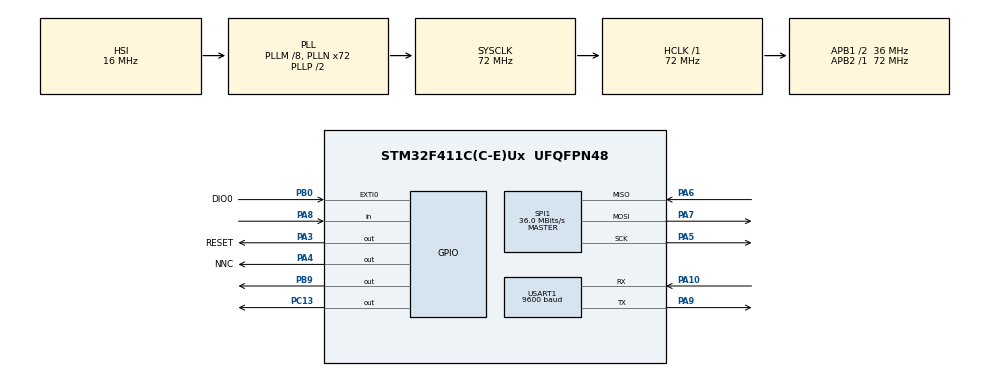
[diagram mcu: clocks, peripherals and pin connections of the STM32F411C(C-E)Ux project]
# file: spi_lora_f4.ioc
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Mcu.Family=STM32F4
Mcu.Name=STM32F411C(C-E)Ux
Mcu.Package=UFQFPN48
NVIC.EXTI0_IRQn=true\:0\:0\:false\:false\:true\:true\:true\:true
NVIC.PriorityGroup=NVIC_PRIORITYGROUP_4
PA10.Mode=Asynchronous
PA10.Signal=USART1_RX
PA13.Mode=Serial_Wire
PA13.Signal=SYS_JTMS-SWDIO
PA14.Mode=Serial_Wire
PA14.Signal=SYS_JTCK-SWCLK
PA3.GPIO_Label=RESET
PA3.PinState=GPIO_PIN_SET
PA3.Signal=GPIO_Output
PA4.GPIO_Label=NNC
PA4.PinState=GPIO_PIN_SET
PA4.Signal=GPIO_Output
PA5.Mode=Full_Duplex_Master
PA5.Signal=SPI1_SCK
PA6.Mode=Full_Duplex_Master
PA6.Signal=SPI1_MISO
PA7.Mode=Full_Duplex_Master
PA7.Signal=SPI1_MOSI
PA8.Signal=GPIO_Input
PA9.Mode=Asynchronous
PA9.Signal=USART1_TX
PB0.GPIO_Label=DIO0
PB0.GPIO_ModeDefaultEXTI=GPIO_MODE_IT_RISING
PB0.Signal=GPXTI0
PB9.PinState=GPIO_PIN_RESET
PB9.Signal=GPIO_Output
PC13-ANTI_TAMP.Signal=GPIO_Output
PH0\ -\ OSC_IN.Mode=HSE-External-Oscillator
PH0\ -\ OSC_IN.Signal=RCC_OSC_IN
PH1\ -\ OSC_OUT.Mode=HSE-External-Oscillator
PH1\ -\ OSC_OUT.Signal=RCC_OSC_OUT
ProjectManager.HeapSize=0x200
ProjectManager.StackSize=0x400
ProjectManager.TargetToolchain=STM32CubeIDE
RCC.48MHZClocksFreq_Value=36000000
RCC.AHBFreq_Value=72000000
RCC.APB1CLKDivider=RCC_HCLK_DIV2
RCC.APB1Freq_Value=36000000
RCC.APB1TimFreq_Value=72000000
RCC.APB2Freq_Value=72000000
RCC.APB2TimFreq_Value=72000000
RCC.CortexFreq_Value=72000000
RCC.HCLKFreq_Value=72000000
RCC.HSE_VALUE=25000000
RCC.HSI_VALUE=16000000
RCC.LSE_VALUE=32768
RCC.PLLM=8
RCC.PLLN=72
RCC.SYSCLKFreq_VALUE=72000000
RCC.SYSCLKSource=RCC_SYSCLKSOURCE_PLLCLK
RCC.VCOOutputFreq_Value=144000000
SPI1.CalculateBaudRate=36.0 MBits/s
SPI1.Direction=SPI_DIRECTION_2LINES
SPI1.Mode=SPI_MODE_MASTER
SPI1.VirtualType=VM_MASTER
USART1.BaudRate=9600
USART1.VirtualMode=VM_ASYNC
board=custom

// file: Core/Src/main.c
/* USER CODE BEGIN Header */
/**
  ******************************************************************************
  * @file           : main.c
  * @brief          : Main program body
  ******************************************************************************
  * @attention
  *
  * Copyright (c) 2023 STMicroelectronics.
  * All rights reserved.
  *
  * This software is licensed under terms that can be found in the LICENSE file
  * in the root directory of this software component.
  * If no LICENSE file comes with this software, it is provided AS-IS.
  *
  ******************************************************************************
  */
/* USER CODE END Header */
#include "main.h"

/* USER CODE BEGIN Includes */
#include "LoRa_f.h"

/* USER CODE END Includes */

SPI_HandleTypeDef hspi1;

UART_HandleTypeDef huart1;

/* USER CODE BEGIN PV */
LoRa myLoRa;
uint8_t receive_data[10];
uint8_t so_luong_message_nhan_duoc[1] = {0};

/* USER CODE END PV */

void SystemClock_Config(void);
static void MX_GPIO_Init(void);
static void MX_SPI1_Init(void);
static void MX_USART1_UART_Init(void);

int main(void)
{

  /* MCU Configuration--------------------------------------------------------*/

  /* Reset of all peripherals, Initializes the Flash interface and the Systick. */
  HAL_Init();

  /* Configure the system clock */
  SystemClock_Config();

  /* Initialize all configured peripherals */
  MX_GPIO_Init();
  MX_SPI1_Init();
  MX_USART1_UART_Init();
  /* USER CODE BEGIN 2 */

  myLoRa = newLoRa(&hspi1);
  LoRa_start(&myLoRa, &huart1);

  /* USER CODE END 2 */

  /* Infinite loop */
  /* USER CODE BEGIN WHILE */
  while (1)
  {
	  transmit_test(&myLoRa);
	  HAL_Delay(200);
    /* USER CODE END WHILE */

  }
}

void SystemClock_Config(void)
{
  RCC_OscInitTypeDef RCC_OscInitStruct = {0};
  RCC_ClkInitTypeDef RCC_ClkInitStruct = {0};

  /** Configure the main internal regulator output voltage
  */
  __HAL_RCC_PWR_CLK_ENABLE();
  __HAL_PWR_VOLTAGESCALING_CONFIG(PWR_REGULATOR_VOLTAGE_SCALE1);

  /** Initializes the RCC Oscillators according to the specified parameters
  * in the RCC_OscInitTypeDef structure.
  */
  RCC_OscInitStruct.OscillatorType = RCC_OSCILLATORTYPE_HSI;
  RCC_OscInitStruct.HSIState = RCC_HSI_ON;
  RCC_OscInitStruct.HSICalibrationValue = RCC_HSICALIBRATION_DEFAULT;
  RCC_OscInitStruct.PLL.PLLState = RCC_PLL_ON;
  RCC_OscInitStruct.PLL.PLLSource = RCC_PLLSOURCE_HSI;
  RCC_OscInitStruct.PLL.PLLM = 8;
  RCC_OscInitStruct.PLL.PLLN = 72;
  RCC_OscInitStruct.PLL.PLLP = RCC_PLLP_DIV2;
  RCC_OscInitStruct.PLL.PLLQ = 4;
  if (HAL_RCC_OscConfig(&RCC_OscInitStruct) != HAL_OK)
  {
    Error_Handler();
  }

  /** Initializes the CPU, AHB and APB buses clocks
  */
  RCC_ClkInitStruct.ClockType = RCC_CLOCKTYPE_HCLK|RCC_CLOCKTYPE_SYSCLK
                              |RCC_CLOCKTYPE_PCLK1|RCC_CLOCKTYPE_PCLK2;
  RCC_ClkInitStruct.SYSCLKSource = RCC_SYSCLKSOURCE_PLLCLK;
  RCC_ClkInitStruct.AHBCLKDivider = RCC_SYSCLK_DIV1;
  RCC_ClkInitStruct.APB1CLKDivider = RCC_HCLK_DIV2;
  RCC_ClkInitStruct.APB2CLKDivider = RCC_HCLK_DIV1;

  if (HAL_RCC_ClockConfig(&RCC_ClkInitStruct, FLASH_LATENCY_2) != HAL_OK)
  {
    Error_Handler();
  }
}

static void MX_SPI1_Init(void)
{

  /* SPI1 parameter configuration*/
  hspi1.Instance = SPI1;
  hspi1.Init.Mode = SPI_MODE_MASTER;
  hspi1.Init.Direction = SPI_DIRECTION_2LINES;
  hspi1.Init.DataSize = SPI_DATASIZE_8BIT;
  hspi1.Init.CLKPolarity = SPI_POLARITY_LOW;
  hspi1.Init.CLKPhase = SPI_PHASE_1EDGE;
  hspi1.Init.NSS = SPI_NSS_SOFT;
  hspi1.Init.BaudRatePrescaler = SPI_BAUDRATEPRESCALER_2;
  hspi1.Init.FirstBit = SPI_FIRSTBIT_MSB;
  hspi1.Init.TIMode = SPI_TIMODE_DISABLE;
  hspi1.Init.CRCCalculation = SPI_CRCCALCULATION_DISABLE;
  hspi1.Init.CRCPolynomial = 10;
  if (HAL_SPI_Init(&hspi1) != HAL_OK)
  {
    Error_Handler();
  }

}

static void MX_USART1_UART_Init(void)
{

  huart1.Instance = USART1;
  huart1.Init.BaudRate = 9600;
  huart1.Init.WordLength = UART_WORDLENGTH_8B;
  huart1.Init.StopBits = UART_STOPBITS_1;
  huart1.Init.Parity = UART_PARITY_NONE;
  huart1.Init.Mode = UART_MODE_TX_RX;
  huart1.Init.HwFlowCtl = UART_HWCONTROL_NONE;
  huart1.Init.OverSampling = UART_OVERSAMPLING_16;
  if (HAL_UART_Init(&huart1) != HAL_OK)
  {
    Error_Handler();
  }

}

static void MX_GPIO_Init(void)
{
  GPIO_InitTypeDef GPIO_InitStruct = {0};

  /* GPIO Ports Clock Enable */
  __HAL_RCC_GPIOC_CLK_ENABLE();
  __HAL_RCC_GPIOH_CLK_ENABLE();
  __HAL_RCC_GPIOA_CLK_ENABLE();
  __HAL_RCC_GPIOB_CLK_ENABLE();

  /*Configure GPIO pin Output Level */
  HAL_GPIO_WritePin(GPIOC, GPIO_PIN_13, GPIO_PIN_RESET);

  /*Configure GPIO pin Output Level */
  HAL_GPIO_WritePin(GPIOA, RESET_Pin|NNC_Pin, GPIO_PIN_SET);

  /*Configure GPIO pin Output Level */
  HAL_GPIO_WritePin(GPIOB, GPIO_PIN_9, GPIO_PIN_RESET);

  /*Configure GPIO pin : PC13 */
  GPIO_InitStruct.Pin = GPIO_PIN_13;
  GPIO_InitStruct.Mode = GPIO_MODE_OUTPUT_PP;
  GPIO_InitStruct.Pull = GPIO_NOPULL;
  GPIO_InitStruct.Speed = GPIO_SPEED_FREQ_LOW;
  HAL_GPIO_Init(GPIOC, &GPIO_InitStruct);

  /*Configure GPIO pins : RESET_Pin NNC_Pin */
  GPIO_InitStruct.Pin = RESET_Pin|NNC_Pin;
  GPIO_InitStruct.Mode = GPIO_MODE_OUTPUT_PP;
  GPIO_InitStruct.Pull = GPIO_NOPULL;
  GPIO_InitStruct.Speed = GPIO_SPEED_FREQ_LOW;
  HAL_GPIO_Init(GPIOA, &GPIO_InitStruct);

  /*Configure GPIO pin : DIO0_Pin */
  GPIO_InitStruct.Pin = DIO0_Pin;
  GPIO_InitStruct.Mode = GPIO_MODE_IT_RISING;
  GPIO_InitStruct.Pull = GPIO_NOPULL;
  HAL_GPIO_Init(DIO0_GPIO_Port, &GPIO_InitStruct);

  /*Configure GPIO pin : PA8 */
  GPIO_InitStruct.Pin = GPIO_PIN_8;
  GPIO_InitStruct.Mode = GPIO_MODE_INPUT;
  GPIO_InitStruct.Pull = GPIO_NOPULL;
  HAL_GPIO_Init(GPIOA, &GPIO_InitStruct);

  /*Configure GPIO pin : PB9 */
  GPIO_InitStruct.Pin = GPIO_PIN_9;
  GPIO_InitStruct.Mode = GPIO_MODE_OUTPUT_PP;
  GPIO_InitStruct.Pull = GPIO_NOPULL;
  GPIO_InitStruct.Speed = GPIO_SPEED_FREQ_LOW;
  HAL_GPIO_Init(GPIOB, &GPIO_InitStruct);

  /* EXTI interrupt init*/
  HAL_NVIC_SetPriority(EXTI0_IRQn, 0, 0);
  HAL_NVIC_EnableIRQ(EXTI0_IRQn);

}

/* USER CODE BEGIN 4 */
void HAL_GPIO_EXTI_Callback(uint16_t GPIO_Pin){
	if(GPIO_Pin == DIO0_Pin){
		char num_of_mess[50];
		sprintf((char*)num_of_mess, "mess: %d", so_luong_message_nhan_duoc[0]++);
		receive_test(&myLoRa,&huart1, receive_data);
		if(so_luong_message_nhan_duoc[0]%10 == 0){
			HAL_UART_Transmit(&huart1,receive_data, 10 , 100);
			HAL_UART_Transmit(&huart1, (uint8_t*)num_of_mess, 9 , 100);
		}
	}
}
/* USER CODE END 4 */

void Error_Handler(void)
{
  __disable_irq();
  while (1)
  {
  }
}
